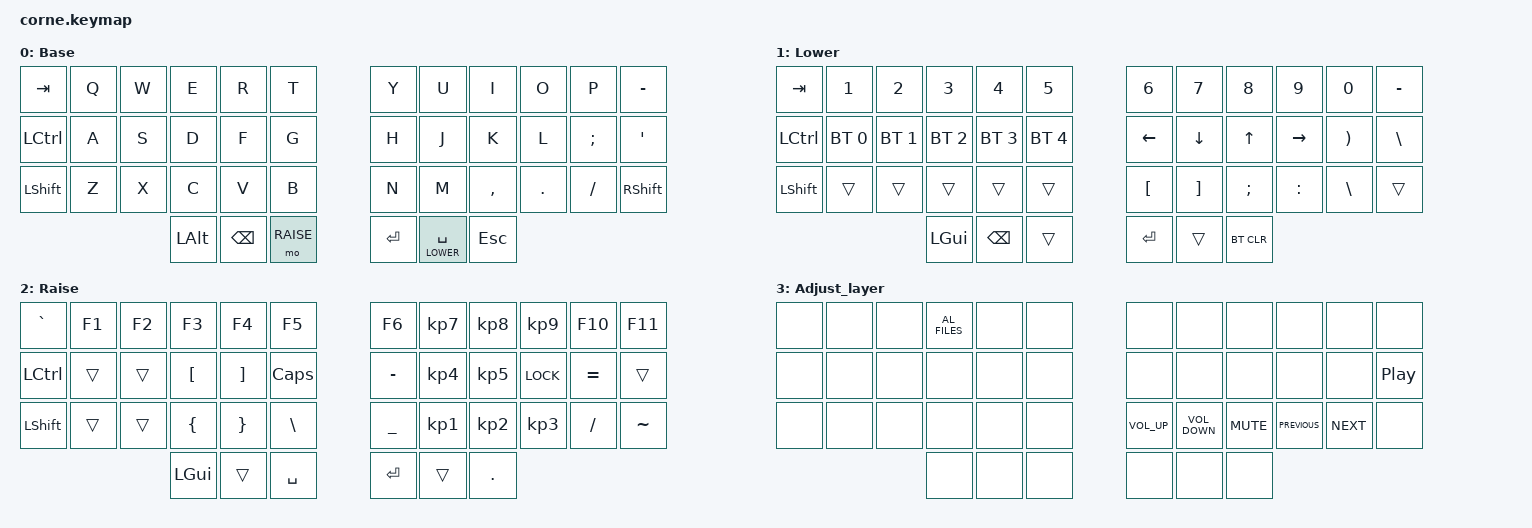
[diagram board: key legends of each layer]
/*
 * Copyright (c) 2020 The ZMK Contributors
 *
 * SPDX-License-Identifier: MIT
 */
//try again
#include <behaviors.dtsi>
#include <dt-bindings/zmk/keys.h>
#include <dt-bindings/zmk/bt.h>

#define BASE 0
#define LOWER 1
#define RAISE 2
#define ADJUST 3

/ {
// Activate ADJUST layer by pressing raise and lower
    conditional_layers {
        compatible = "zmk,conditional-layers";
        adjust_layer {
            if-layers = <LOWER RAISE>;
            then-layer = <ADJUST>;
        };
    };
        keymap {
                compatible = "zmk,keymap";

                default_layer {
// -----------------------------------------------------------------------------------------
// |  TAB |  Q  |  W  |  E  |  R  |  T  |   |  Y  |  U   |  I  |  O  |  P  | BKSP |
// | CTRL |  A  |  S  |  D  |  F  |  G  |   |  H  |  J   |  K  |  L  |  ;  |  '   |
// | SHFT |  Z  |  X  |  C  |  V  |  B  |   |  N  |  M   |  ,  |  .  |  /  | ESC  |
//                    | GUI | LWR | SPC |   | ENT | RSE  | ALT |
                        label = "Base";
                        bindings = <
   &kp TAB   &kp Q &kp W &kp E &kp R &kp T   &kp Y &kp U  &kp I     &kp O   &kp P    &kp MINUS
   &kp LCTRL &kp A &kp S &kp D &kp F &kp G   &kp H &kp J  &kp K     &kp L   &kp SEMI &kp SQT
   &kp LSHFT &kp Z &kp X &kp C &kp V &kp B   &kp N &kp M  &kp COMMA &kp DOT &kp FSLH &kp RSHIFT
                  &kp LALT &kp BACKSPACE &mo RAISE   &kp RET &lt LOWER SPACE &kp ESC
                        >;
                };
                lower_layer {
// -----------------------------------------------------------------------------------------
// |  TAB |  1  |  2  |  3  |  4  |  5  |   |  6  |  7  |  8  |  9  |  0  | BKSP |
// | BTCLR| BT1 | BT2 | BT3 | BT4 | BT5 |   | LFT | DWN |  UP | RGT |     |      |
// | SHFT |     |     |     |     |     |   |     |     |     |     |     |      |
//                    | GUI |     | SPC |   | ENT |     | ALT |
                        label = "Lower";
                        bindings = <
   &kp TAB    &kp N1       &kp N2       &kp N3       &kp N4       &kp N5         &kp N6   &kp N7   &kp N8 &kp N9    &kp N0 &kp MINUS
   &kp LCTRL &bt BT_SEL 0 &bt BT_SEL 1 &bt BT_SEL 2 &bt BT_SEL 3 &bt BT_SEL 4   &kp LEFT &kp DOWN &kp UP &kp RIGHT &kp RPAR &kp BACKSLASH
   &kp LSHFT  &trans       &trans       &trans       &trans       &trans         &kp LBKT  &kp RBKT &kp SEMI &kp COLON &kp BSLH  &trans
                          	         &kp LGUI    &kp BACKSPACE    &trans      &kp RET  &trans   &bt BT_CLR
                        >;
                };

                raise_layer {
// -----------------------------------------------------------------------------------------
// |  Grave |  !  |  @  |  #  |  $  |  %  |   |  ^  |  &  |  *  |  (  |  )  | BKSP |
// | CTRL |     |     |     |     |     |   |  -  |  =  |  [  |  ]  |  \  |  `   |
// | SHFT |     |     |     |     |     |   |  _  |  +  |  {  |  }  | "|" |  ~   |
//                    | GUI |     | SPC |   | ENT |     | ALT |
                        label = "Raise";
                        bindings = <
   &kp GRAVE &kp F1 &kp F2 &kp F3 &kp F4 &kp F5     &kp F6    &kp KP_N7  &kp KP_N8  &kp KP_N9    &kp F10   &kp F11
   &kp LCTRL     &trans &trans    &kp LBKT     &kp RBKT       &kp CLCK       &kp MINUS &kp KP_N4  &kp KP_N5 &kp K_LOCK &kp EQUAL &trans  
   &kp LSHFT     &trans &trans    &kp LBRC   &kp RBRC  &kp BSLH        &kp UNDER  &kp KP_N1   &kp KP_N2  &kp KP_N3  &kp FSLH  &kp TILDE
                    	     &kp LGUI &trans   &kp SPACE   &kp RET   &trans    &kp DOT
                        >;
                };
// ------------------------------------------------------------------------------------------------------------
// |BTCLR | BT1   | BT2   |  BT3  |  BT4  |  BT5  |                |      |      |       |      |       |       |
// |EXTPWR|RGB_HUD|RGB_HUI|RGB_SAD|RGB_SAI|RGB_EFF|                |      |      |       |      |       |       |
// |      |RGB_BRD|RGB_BRI|       |       |       |                |      |      |       |      |       |       |
// |      |       |       |       |       |       |RGB_TOG| |      |      |      |       |      |       |       |
//                |       |       |       |       |       | |      |      |      |       |      |

        Adjust_layer {
        bindings = <
&none &none &none &kp C_AL_FILES &none &none    &none &none &none &none &none &none
&none  &none &none &none &none &none           &none &none &none &none &none &kp C_PLAY_PAUSE
&none  &none &none &none &none &none          &kp C_VOLUME_UP &kp C_VOLUME_DOWN &kp C_MUTE &kp C_PREVIOUS &kp C_NEXT &none
&none  &none  &none      &none &none &none
        >;
        };
};
};
